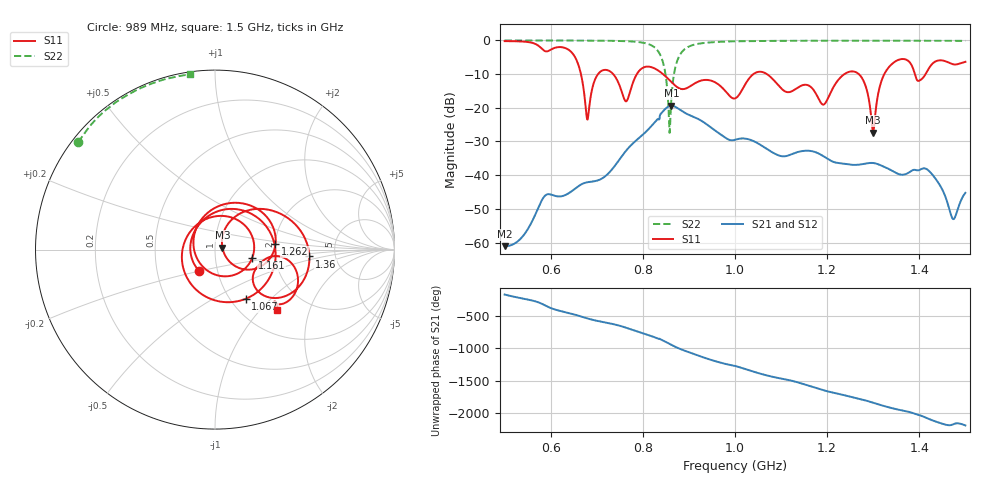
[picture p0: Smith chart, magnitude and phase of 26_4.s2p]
! TOUCHSTONE file generated by CST MICROWAVE STUDIO
! Date and time: Sat Nov 14 20:01:56 2020
! Project name: Scenario_1_Planar_Body_Tissue_Out_of_Line.cst
! Parameters = {dy1=-86.5; L_HA=400; Ltissue=700; MT=2.54; Rad_Dielectric=30; Rad_Lower=7.3; Rad_Upper=30; Wtissue=700; a_HA=580; a_WG=246; b_HA=500; b_WG=121; c_HA=0; c_WG=187; d_feed=85; dx1=693; h_feed=15; h_lower=18; h_upper=40; hfat=3; hgap=25; hmuscle=50; hskin=1.5}
! Header version: 2018
! Port assignment regex: !\s*Touchstone port\s*([0-9]+)\s*=\s*(CST MWS port|CST DS port)\s*([0-9]+|Zmin|Zmax)\s*\(\"(.*)\"\)(\s*mode\s*([0-9]+))?.*
! Touchstone port assignment:
! Touchstone port 1 = CST MWS port 1 ("")
! Touchstone port 2 = CST MWS port 2 ("")
# GHz S DB R 50
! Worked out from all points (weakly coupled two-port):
!   1003 points, 500 MHz to 1.5 GHz, reference 50 ohm
!   highest |S21| = -19.38 dB at 862 MHz (marker M1); lowest = -61.1 dB at 501 MHz (marker M2)
!   lowest |S11| = -27.4 dB at 1.3 GHz (marker M3), VSWR 1.09, Z = 54.3 + j1.24 ohm
!   |S11| at or under -10 dB: 843.8 MHz to 1.04 GHz (196.1 MHz wide, 20.8 % of centre); 1.069 GHz to 1.237 GHz (168.2 MHz wide, 14.6 % of centre); 1.269 GHz to 1.324 GHz (55.37 MHz wide, 4.27 % of centre) (the widest 3 of 6)
!   |S22| runs from -27.5 to 0.0 dB; largest |S21 - S12| = 0.0096
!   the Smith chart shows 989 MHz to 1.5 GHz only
!   S11 on the Smith chart (normalised r, x): 989 MHz: 0.82, -0.20; 1.067 GHz: 1.17, -0.72; 1.161 GHz: 1.51, -0.15; 1.262 GHz: 2.01, +0.14; 1.36 GHz: 3.19, -0.34; 1.5 GHz: 1.41, -1.24
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0.5  -0.20 -121.6  -61.09 -170.9  -61.09 -170.9  -0.01 151.2
0.501  -0.20 -122.0  -61.09 -172.7  -61.10 -172.7  -0.01 151.1
0.622  -1.98 173.1  -46.30 -66.8  -46.30 -66.8  -0.02 142.4
0.667  -10.85 99.0  -42.71 -152.2  -42.71 -152.2  -0.04 138.4
0.68  -23.49 151.0  -42.10 179.6  -42.10 179.6  -0.05 137.1
0.711  -9.00 158.4  -41.02 128.0  -41.02 128.0  -0.08 133.5
0.763  -18.07 -23.5  -32.85 38.3  -32.85 38.3  -0.22 124.8
0.797  -8.39 164.9  -28.34 -42.6  -28.34 -42.6  -0.60 114.1
0.834  -8.99 59.1  -23.30 -134.5  -22.84 -132.4  -3.38 84.0
0.862  -12.34 -28.9  -19.38 131.9  -19.39 132.0  -16.99 -127.6
0.888  -14.45 -132.8  -21.26 49.1  -21.25 49.2  -2.93 178.8
0.989  -16.55 -126.4  -29.57 -177.5  -29.57 -177.5  -0.29 141.8
1  -17.21 177.4  -29.50 165.6  -29.50 165.6  -0.26 140.2
1.067  -9.82 -58.1  -32.03 23.2  -32.03 23.2  -0.15 132.7
1.161  -13.46 -12.9  -32.77 -141.5  -32.76 -141.5  -0.10 124.7
1.167  -14.13 -33.4  -32.88 -155.2  -32.88 -155.2  -0.09 124.2
1.262  -9.41 5.3  -36.95 32.1  -36.96 32.1  -0.08 117.0
1.3  -27.35 15.4  -36.40 -42.6  -36.40 -42.6  -0.08 114.1
1.334  -7.92 31.4  -38.19 -113.8  -38.19 -113.8  -0.09 111.5
1.36  -5.56 -4.2  -39.84 -156.7  -39.84 -156.7  -0.09 109.5
1.474  -7.10 -41.6  -53.07 -13.9  -53.06 -13.9  -0.12 100.3
1.5  -6.35 -44.4  -45.25 -33.2  -45.25 -33.2  -0.12 98.0
